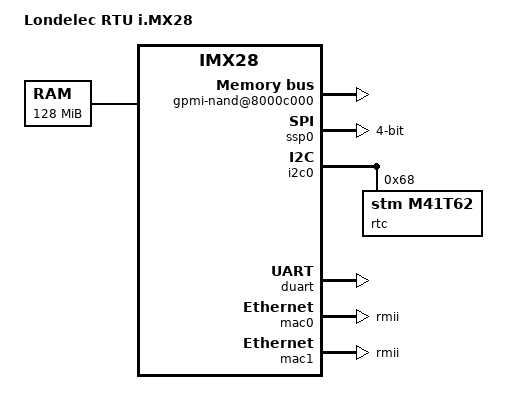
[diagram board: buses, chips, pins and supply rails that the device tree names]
// SPDX-License-Identifier: GPL-2.0+
//
// Copyright 2023 Londelec UK Ltd.

/dts-v1/;
#include "imx28.dtsi"

/ {
	model = "Londelec RTU i.MX28";
	compatible = "fsl,imx28";

	memory {
		reg = <0x40000000 0x08000000>;
	};

	apb@80000000 {
		apbh@80000000 {
			gpmi-nand@8000c000 {
				#address-cells = <1>;
				#size-cells = <1>;
				pinctrl-names = "default";
				pinctrl-0 = <&gpmi_pins_a &gpmi_status_cfg>;
				status = "okay";

				partition@0 {
					label = "bootloader";
					reg = <0x00000000 0x00300000>;
					read-only;
				};

				partition@1 {
					label = "environment";
					reg = <0x00300000 0x00080000>;
				};

				partition@2 {
					label = "redundant-environment";
					reg = <0x00380000 0x00080000>;
				};

				partition@3 {
					label = "kernel";
					reg = <0x00400000 0x00400000>;
				};

				partition@4 {
					label = "filesystem";
					reg = <0x00800000 0x0f800000>;
				};
			};

			ssp0: spi@80010000 {
				compatible = "fsl,imx28-mmc";
				pinctrl-names = "default";
				pinctrl-0 = <&mmc0_4bit_pins_a
					     &mmc0_cd_cfg
					     &mmc0_sck_cfg>;
				bus-width = <4>;
				/*
				 * Write protect gpio and power control is disabled.
				 * wp-gpios = <&gpio3 10 0>;
				 * vmmc-supply = <&reg_vddio_sd0>;
				 */
				status = "okay";
			};

			pinctrl@80018000 {
				pinctrl-names = "default";
				pinctrl-0 = <&hog_pins_a>;

				hog_pins_a: hog@0 {
					reg = <0>;
					fsl,pinmux-ids = <
						MX28_PAD_SSP3_MISO__GPIO_2_26		/* Heartbeat LED */
					>;
					fsl,drive-strength = <MXS_DRIVE_4mA>;
					fsl,voltage = <MXS_VOLTAGE_HIGH>;
					fsl,pull-up = <MXS_PULL_DISABLE>;
				};
			};
		};

		apbx@80040000 {
			i2c0: i2c@80058000 {
				pinctrl-names = "default";
				pinctrl-0 = <&i2c0_pins_a>;
				status = "okay";

				rtc: rtc@68 {
					compatible = "stm,m41t62";
					reg = <0x68>;
				};
			};

			duart: serial@80074000 {
				pinctrl-names = "default";
				pinctrl-0 = <&duart_pins_a>;
				status = "okay";
			};
		};
	};

	ahb@80080000 {
		mac0: ethernet@800f0000 {
			phy-mode = "rmii";
			pinctrl-names = "default";
			pinctrl-0 = <&mac0_pins_a>;
			clocks = <&clks 57>, <&clks 57>;
			clock-names = "ipg", "ahb";
			status = "okay";
		};

		mac1: ethernet@800f4000 {
			phy-mode = "rmii";
			pinctrl-names = "default";
			pinctrl-0 = <&mac1_pins_a>;
			status = "okay";
		};
	};
};
